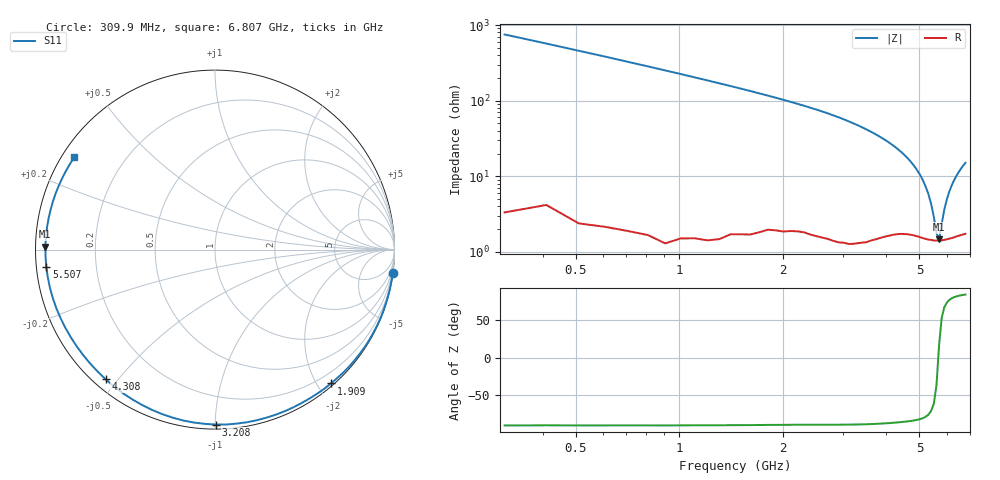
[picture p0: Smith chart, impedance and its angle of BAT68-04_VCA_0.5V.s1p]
! Infineon Technologies  Discrete & RF Semiconductors
! BAT68-04
! VCA = 0.5 V
! One-Port S-Parameters
# Hz  S  MA  R  50
!f  S11
!Hz  Mag  Ang
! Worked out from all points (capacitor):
!   66 points, 309.9 MHz to 6.807 GHz, reference 50 ohm
!   read as one part to ground: C = 679 fF near 309.9 MHz
!   lowest |Z| = 1.47 ohm at 5.707 GHz (marker M1)
!   series resonance near 5.678 GHz, so ESL is about 1.2 nH
!   S11 on the Smith chart (normalised r, x): 309.9 MHz: 0, -15; 1.909 GHz: 0.04, -2.19; 3.208 GHz: 0.03, -1.01; 4.308 GHz: 0.03, -0.46; 5.507 GHz: 0.03, -0.05; 6.807 GHz: 0.03, +0.30
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3.0985e8  0.9994 -7.6
6.097e8  0.9986 -14.9
8.096e8  0.998 -20.0
1.2094e9  0.9961 -30.2
1.6092e9  0.9917 -40.9
1.90905e9  0.9868 -49.1
2.009e9  0.9858 -51.9
2.4088e9  0.9813 -63.6
2.6087e9  0.98 -69.7
2.8086e9  0.9789 -76.1
3.0085e9  0.9771 -82.7
3.2084e9  0.9748 -89.7
3.4083e9  0.9707 -96.8
3.6082e9  0.9655 -104.1
3.90805e9  0.9563 -115.2
4.10795e9  0.9504 -122.7
4.30785e9  0.945 -130.2
4.4078e9  0.9429 -133.9
4.6077e9  0.9407 -141.3
4.8076e9  0.9402 -148.7
5.0075e9  0.9414 -156.1
5.2074e9  0.9431 -163.4
5.50725e9  0.9451 -174.1
5.70715e9  0.9453 179.0
6.007e9  0.9433 169.3
6.2069e9  0.9419 163.2
6.4068e9  0.9402 157.4
6.8066e9  0.9381 146.6
